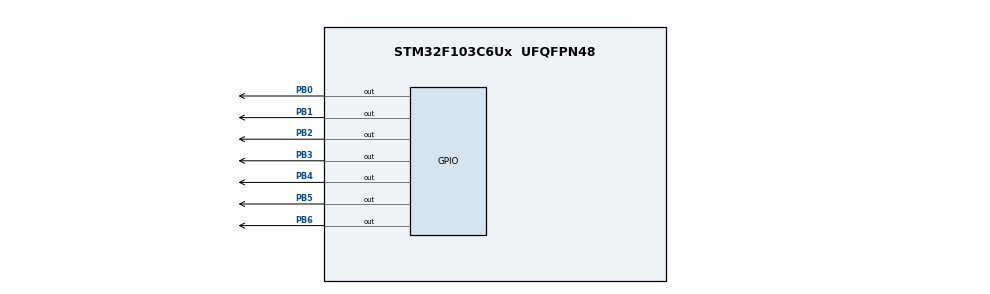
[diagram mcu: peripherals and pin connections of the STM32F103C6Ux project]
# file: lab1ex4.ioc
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Mcu.Family=STM32F1
Mcu.Name=STM32F103C6Ux
Mcu.Package=UFQFPN48
NVIC.PriorityGroup=NVIC_PRIORITYGROUP_4
PB0.Signal=GPIO_Output
PB1.Signal=GPIO_Output
PB2.Signal=GPIO_Output
PB3.Signal=GPIO_Output
PB4.Signal=GPIO_Output
PB5.Signal=GPIO_Output
PB6.Signal=GPIO_Output
ProjectManager.HeapSize=0x200
ProjectManager.StackSize=0x400
ProjectManager.TargetToolchain=STM32CubeIDE
RCC.APB1Freq_Value=8000000
RCC.APB2Freq_Value=8000000
VP_SYS_VS_ND.Mode=No_Debug
board=custom

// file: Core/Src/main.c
/* USER CODE BEGIN Header */
/**
  ******************************************************************************
  * @file           : main.c
  * @brief          : Main program body
  ******************************************************************************
  * @attention
  *
  * <h2><center>&copy; Copyright (c) 2026 STMicroelectronics.
  * All rights reserved.</center></h2>
  *
  * This software component is licensed by ST under BSD 3-Clause license,
  * the "License"; You may not use this file except in compliance with the
  * License. You may obtain a copy of the License at:
  *                        opensource.org/licenses/BSD-3-Clause
  *
  ******************************************************************************
  */
/* USER CODE END Header */
#include "main.h"

void SystemClock_Config(void);
static void MX_GPIO_Init(void);

/* USER CODE BEGIN 0 */
void display7SEG(int num) {
    GPIO_PinState a = GPIO_PIN_SET;
    GPIO_PinState b = GPIO_PIN_SET;
    GPIO_PinState c = GPIO_PIN_SET;
    GPIO_PinState d = GPIO_PIN_SET;
    GPIO_PinState e = GPIO_PIN_SET;
    GPIO_PinState f = GPIO_PIN_SET;
    GPIO_PinState g = GPIO_PIN_SET;

    switch (num) {
        case 0: a=0; b=0; c=0; d=0; e=0; f=0;      break;
        case 1:      b=0; c=0;                     break;
        case 2: a=0; b=0;      d=0; e=0;      g=0; break;
        case 3: a=0; b=0; c=0; d=0;           g=0; break;
        case 4:      b=0; c=0;           f=0; g=0; break;
        case 5: a=0;      c=0; d=0;      f=0; g=0; break;
        case 6: a=0;      c=0; d=0; e=0; f=0; g=0; break;
        case 7: a=0; b=0; c=0;                     break;
        case 8: a=0; b=0; c=0; d=0; e=0; f=0; g=0; break;
        case 9: a=0; b=0; c=0; d=0;      f=0; g=0; break;
    }

    HAL_GPIO_WritePin(GPIOB, GPIO_PIN_0, a);
    HAL_GPIO_WritePin(GPIOB, GPIO_PIN_1, b);
    HAL_GPIO_WritePin(GPIOB, GPIO_PIN_2, c);
    HAL_GPIO_WritePin(GPIOB, GPIO_PIN_3, d);
    HAL_GPIO_WritePin(GPIOB, GPIO_PIN_4, e);
    HAL_GPIO_WritePin(GPIOB, GPIO_PIN_5, f);
    HAL_GPIO_WritePin(GPIOB, GPIO_PIN_6, g);
}
/* USER CODE END 0 */

int main(void)
{

  /* MCU Configuration--------------------------------------------------------*/

  /* Reset of all peripherals, Initializes the Flash interface and the Systick. */
  HAL_Init();

  /* Configure the system clock */
  SystemClock_Config();

  /* Initialize all configured peripherals */
  MX_GPIO_Init();
  /* USER CODE BEGIN 2 */
  int counter = 0;
  /* USER CODE END 2 */

  /* Infinite loop */
  while (1)
  {
	  if (counter >= 10) {
	            counter = 0;
	        }

	        display7SEG(counter);
	        counter++;

	        HAL_Delay(1000);
  }
}

void SystemClock_Config(void)
{
  RCC_OscInitTypeDef RCC_OscInitStruct = {0};
  RCC_ClkInitTypeDef RCC_ClkInitStruct = {0};

  /** Initializes the RCC Oscillators according to the specified parameters
  * in the RCC_OscInitTypeDef structure.
  */
  RCC_OscInitStruct.OscillatorType = RCC_OSCILLATORTYPE_HSI;
  RCC_OscInitStruct.HSIState = RCC_HSI_ON;
  RCC_OscInitStruct.HSICalibrationValue = RCC_HSICALIBRATION_DEFAULT;
  RCC_OscInitStruct.PLL.PLLState = RCC_PLL_NONE;
  if (HAL_RCC_OscConfig(&RCC_OscInitStruct) != HAL_OK)
  {
    Error_Handler();
  }
  /** Initializes the CPU, AHB and APB buses clocks
  */
  RCC_ClkInitStruct.ClockType = RCC_CLOCKTYPE_HCLK|RCC_CLOCKTYPE_SYSCLK
                              |RCC_CLOCKTYPE_PCLK1|RCC_CLOCKTYPE_PCLK2;
  RCC_ClkInitStruct.SYSCLKSource = RCC_SYSCLKSOURCE_HSI;
  RCC_ClkInitStruct.AHBCLKDivider = RCC_SYSCLK_DIV1;
  RCC_ClkInitStruct.APB1CLKDivider = RCC_HCLK_DIV1;
  RCC_ClkInitStruct.APB2CLKDivider = RCC_HCLK_DIV1;

  if (HAL_RCC_ClockConfig(&RCC_ClkInitStruct, FLASH_LATENCY_0) != HAL_OK)
  {
    Error_Handler();
  }
}

static void MX_GPIO_Init(void)
{
  GPIO_InitTypeDef GPIO_InitStruct = {0};

  /* GPIO Ports Clock Enable */
  __HAL_RCC_GPIOB_CLK_ENABLE();

  /*Configure GPIO pin Output Level */
  HAL_GPIO_WritePin(GPIOB, GPIO_PIN_0|GPIO_PIN_1|GPIO_PIN_2|GPIO_PIN_3
                          |GPIO_PIN_4|GPIO_PIN_5|GPIO_PIN_6, GPIO_PIN_RESET);

  /*Configure GPIO pins : PB0 PB1 PB2 PB3
                           PB4 PB5 PB6 */
  GPIO_InitStruct.Pin = GPIO_PIN_0|GPIO_PIN_1|GPIO_PIN_2|GPIO_PIN_3
                          |GPIO_PIN_4|GPIO_PIN_5|GPIO_PIN_6;
  GPIO_InitStruct.Mode = GPIO_MODE_OUTPUT_PP;
  GPIO_InitStruct.Pull = GPIO_NOPULL;
  GPIO_InitStruct.Speed = GPIO_SPEED_FREQ_LOW;
  HAL_GPIO_Init(GPIOB, &GPIO_InitStruct);

}

void Error_Handler(void)
{
  __disable_irq();
  while (1)
  {
  }
}

/************************ (C) COPYRIGHT STMicroelectronics *****END OF FILE****/
